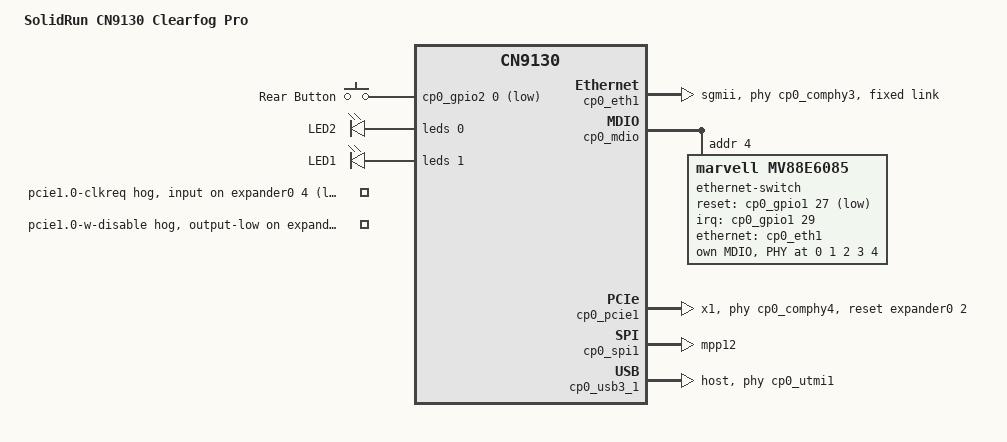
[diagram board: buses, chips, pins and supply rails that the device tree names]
// SPDX-License-Identifier: GPL-2.0+
/*
 * Copyright (C) 2024 Josua Mayer <josua@solid-run.com>
 *
 * DTS for SolidRun CN9130 Clearfog Pro.
 *
 */

/dts-v1/;

#include <dt-bindings/input/input.h>
#include <dt-bindings/leds/common.h>

#include "cn9130.dtsi"
#include "cn9130-sr-som.dtsi"
#include "cn9130-cf.dtsi"

/ {
	model = "SolidRun CN9130 Clearfog Pro";
	compatible = "solidrun,cn9130-clearfog-pro",
		     "solidrun,cn9130-sr-som", "marvell,cn9130";

	gpio-keys {
		compatible = "gpio-keys";
		pinctrl-0 = <&rear_button_pins>;
		pinctrl-names = "default";

		button-0 {
			/* The rear SW3 button */
			label = "Rear Button";
			gpios = <&cp0_gpio2 0 GPIO_ACTIVE_LOW>;
			linux,can-disable;
			linux,code = <BTN_0>;
		};
	};
};

/* SRDS #3 - SGMII 1GE to L2 switch */
&cp0_eth1 {
	phys = <&cp0_comphy3 1>;
	phy-mode = "sgmii";
	status = "okay";

	fixed-link {
		speed = <1000>;
		full-duplex;
	};
};

&cp0_eth2_phy {
	/*
	 * Configure LEDs default behaviour similar to switch ports:
	 * - LED[0]: link/activity: On/blink (green)
	 * - LED[1]: link is 100/1000Mbps: On (red)
	 * - LED[2]: high impedance (floating)
	 *
	 * Switch port defaults:
	 * - LED0: link/activity: On/blink (green)
	 * - LED1: link is 1000Mbps: On (red)
	 *
	 * Identical configuration is impossible with hardware offload.
	 */
	marvell,reg-init = <3 16 0xf000 0x0a61>;

	leds {
		#address-cells = <1>;
		#size-cells = <0>;

		led@0 {
			reg = <0>;
			color = <LED_COLOR_ID_GREEN>;
			function = LED_FUNCTION_WAN;
			label = "LED2";
			default-state = "keep";
		};

		led@1 {
			reg = <1>;
			color = <LED_COLOR_ID_RED>;
			function = LED_FUNCTION_WAN;
			label = "LED1";
			default-state = "keep";
		};
	};
};

&cp0_mdio {
	ethernet-switch@4 {
		compatible = "marvell,mv88e6085";
		reg = <4>;
		pinctrl-0 = <&dsa_clk_pins &dsa_pins>;
		pinctrl-names = "default";
		reset-gpios = <&cp0_gpio1 27 GPIO_ACTIVE_LOW>;
		interrupt-parent = <&cp0_gpio1>;
		interrupts = <29 IRQ_TYPE_EDGE_FALLING>;

		ethernet-ports {
			#address-cells = <1>;
			#size-cells = <0>;

			ethernet-port@0 {
				reg = <0>;
				label = "lan5";
				phy = <&switch0phy0>;

				leds {
					#address-cells = <1>;
					#size-cells = <0>;

					led@0 {
						reg = <0>;
						color = <LED_COLOR_ID_GREEN>;
						function = LED_FUNCTION_LAN;
						label = "LED12";
						default-state = "keep";
					};

					led@1 {
						reg = <1>;
						color = <LED_COLOR_ID_RED>;
						function = LED_FUNCTION_LAN;
						label = "LED11";
						default-state = "keep";
					};
				};
			};

			ethernet-port@1 {
				reg = <1>;
				label = "lan4";
				phy = <&switch0phy1>;

				leds {
					#address-cells = <1>;
					#size-cells = <0>;

					led@0 {
						reg = <0>;
						color = <LED_COLOR_ID_GREEN>;
						function = LED_FUNCTION_LAN;
						label = "LED10";
						default-state = "keep";
					};

					led@1 {
						reg = <1>;
						color = <LED_COLOR_ID_RED>;
						function = LED_FUNCTION_LAN;
						label = "LED9";
						default-state = "keep";
					};
				};
			};

			ethernet-port@2 {
				reg = <2>;
				label = "lan3";
				phy = <&switch0phy2>;

				leds {
					#address-cells = <1>;
					#size-cells = <0>;

					led@0 {
						reg = <0>;
						color = <LED_COLOR_ID_GREEN>;
						function = LED_FUNCTION_LAN;
						label = "LED8";
						default-state = "keep";
					};

					led@1 {
						reg = <1>;
						color = <LED_COLOR_ID_RED>;
						function = LED_FUNCTION_LAN;
						label = "LED7";
						default-state = "keep";
					};
				};
			};

			ethernet-port@3 {
				reg = <3>;
				label = "lan2";
				phy = <&switch0phy3>;

				leds {
					#address-cells = <1>;
					#size-cells = <0>;

					led@0 {
						reg = <0>;
						color = <LED_COLOR_ID_GREEN>;
						function = LED_FUNCTION_LAN;
						label = "LED6";
						default-state = "keep";
					};

					led@1 {
						reg = <1>;
						color = <LED_COLOR_ID_RED>;
						function = LED_FUNCTION_LAN;
						label = "LED5";
						default-state = "keep";
					};
				};
			};

			ethernet-port@4 {
				reg = <4>;
				label = "lan1";
				phy = <&switch0phy4>;

				leds {
					#address-cells = <1>;
					#size-cells = <0>;

					led@0 {
						reg = <0>;
						color = <LED_COLOR_ID_GREEN>;
						function = LED_FUNCTION_LAN;
						label = "LED4";
						default-state = "keep";
					};

					led@1 {
						reg = <1>;
						color = <LED_COLOR_ID_RED>;
						function = LED_FUNCTION_LAN;
						label = "LED3";
						default-state = "keep";
					};
				};
			};

			ethernet-port@5 {
				reg = <5>;
				label = "cpu";
				ethernet = <&cp0_eth1>;
				phy-mode = "sgmii";

				fixed-link {
					speed = <1000>;
					full-duplex;
				};
			};

			ethernet-port@6 {
				reg = <6>;
				label = "lan6";
				phy-mode = "rgmii";

				/*
				 * Because of mdio address conflict the
				 * external phy is not readable.
				 * Force a fixed link instead.
				 */
				fixed-link {
					speed = <1000>;
					full-duplex;
				};
			};
		};

		mdio {
			#address-cells = <1>;
			#size-cells = <0>;

			switch0phy0: ethernet-phy@0 {
				reg = <0x0>;
			};

			switch0phy1: ethernet-phy@1 {
				reg = <0x1>;
				/*
				 * Indirectly configure default behaviour
				 * for port lan6 leds behind external phy.
				 * Internal PHYs are not using page 3,
				 * therefore writing to it is safe.
				 */
				marvell,reg-init = <3 16 0xf000 0x0a61>;
			};

			switch0phy2: ethernet-phy@2 {
				reg = <0x2>;
			};

			switch0phy3: ethernet-phy@3 {
				reg = <0x3>;
			};

			switch0phy4: ethernet-phy@4 {
				reg = <0x4>;
			};
		};

		/*
		 * There is an external phy on the switch mdio bus.
		 * Because its mdio address collides with internal phys,
		 * it is not readable.
		 *
		 * mdio-external {
		 *	compatible = "marvell,mv88e6xxx-mdio-external";
		 *	#address-cells = <1>;
		 *	#size-cells = <0>;
		 *
		 *	ethernet-phy@1 {
		 *		reg = <0x1>;
		 *	};
		 * };
		 */
	};
};

/* SRDS #4 - miniPCIe (CON2) */
&cp0_pcie1 {
	num-lanes = <1>;
	phys = <&cp0_comphy4 1>;
	/* dw-pcie inverts internally */
	reset-gpios = <&expander0 2 GPIO_ACTIVE_HIGH>;
	status = "okay";
};

&cp0_pinctrl {
	dsa_clk_pins: cp0-dsa-clk-pins {
		marvell,pins = "mpp40";
		marvell,function = "synce1";
	};

	dsa_pins: cp0-dsa-pins {
		marvell,pins = "mpp27", "mpp29";
		marvell,function = "gpio";
	};

	rear_button_pins: cp0-rear-button-pins {
		marvell,pins = "mpp32";
		marvell,function = "gpio";
	};

	cp0_spi1_cs1_pins: cp0-spi1-cs1-pins {
		marvell,pins = "mpp12";
		marvell,function = "spi1";
	};
};

&cp0_spi1 {
	/* add pin for chip-select 1 on mikrobus */
	pinctrl-0 = <&cp0_spi1_pins &cp0_spi1_cs1_pins>;
};

/* USB-2.0 Host on Type-A connector */
&cp0_usb3_1 {
	phys = <&cp0_utmi1>;
	phy-names = "utmi";
	dr_mode = "host";
	status = "okay";
};

&expander0 {
	/* CON2 */
	pcie1-0-clkreq-hog {
		gpio-hog;
		gpios = <4 GPIO_ACTIVE_LOW>;
		input;
		line-name = "pcie1.0-clkreq";
	};

	/* CON2 */
	pcie1-0-w-disable-hog {
		gpio-hog;
		gpios = <7 GPIO_ACTIVE_LOW>;
		output-low;
		line-name = "pcie1.0-w-disable";
	};
};
